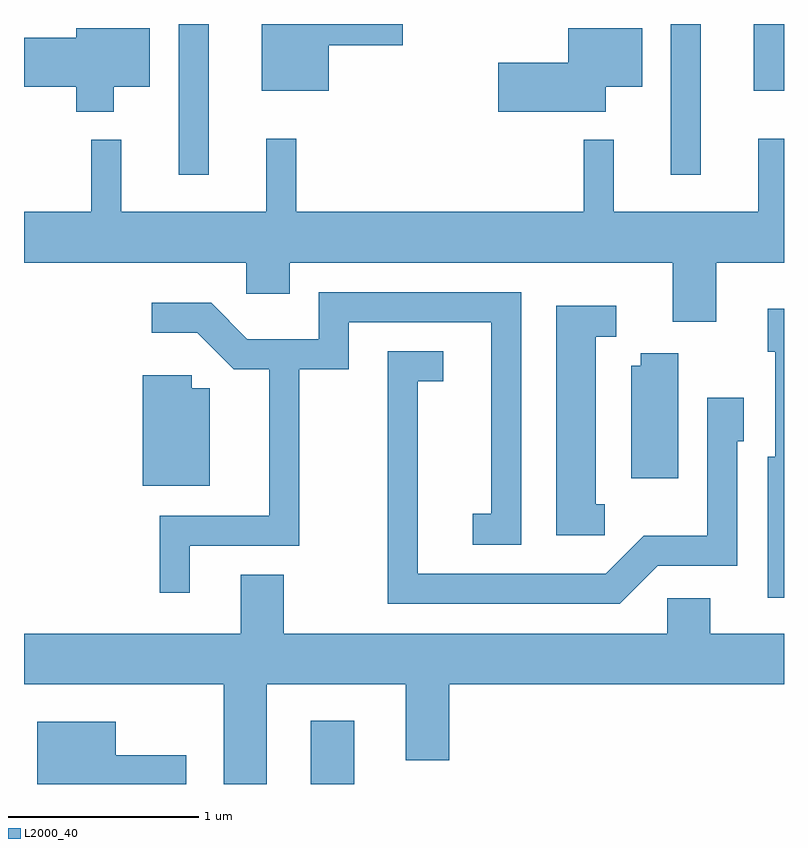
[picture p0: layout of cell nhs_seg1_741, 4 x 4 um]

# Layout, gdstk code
import gdstk
lib = gdstk.Library(unit=1e-6, precision=1e-09)
def R(c, l, rs):  # rectangles x0, y0, x1, y1
    for r in rs: c.add(gdstk.rectangle(r[:2], r[2:], *l))
def P(c, l, *ps):  # polygons
    for p in ps: c.add(gdstk.Polygon(p, *l))
L2000_40 = (2000, 40)

nhs_seg1_741 = lib.new_cell('nhs_seg1_741')
R(nhs_seg1_741, L2000_40, [(209.121,905.712,209.349,906.044), (208.426,908.918,208.584,909.712), (211.016,908.918,211.174,909.712), (211.451,909.361,211.611,909.712)])
P(nhs_seg1_741, L2000_40, [(209.214,909.601),(209.604,909.601),(209.604,909.712),(208.861,909.712),(208.861,909.361),(209.214,909.361)],
  [(210.674,909.381),(210.864,909.381),(210.864,909.689),(210.476,909.689),(210.476,909.509),(210.106,909.509),(210.106,909.251),(210.674,909.251)],
  [(208.084,909.381),(208.274,909.381),(208.274,909.689),(207.886,909.689),(207.886,909.639),(207.611,909.639),(207.611,909.381),(207.886,909.381),(207.886,909.251),(208.084,909.251)],
  [(211.254,908.456),(211.611,908.456),(211.611,909.108),(211.476,909.108),(211.476,908.724),(210.714,908.724),(210.714,909.103),(210.556,909.103),(210.556,908.724),(209.044,908.724),(209.044,909.108),(208.886,909.108),(208.886,908.724),(208.124,908.724),(208.124,909.103),(207.966,909.103),(207.966,908.724),(207.611,908.724),(207.611,908.456),(208.781,908.456),(208.781,908.291),(209.009,908.291),(209.009,908.456),(211.026,908.456),(211.026,908.146),(211.254,908.146)],
  [(208.484,906.966),(209.059,906.966),(209.059,907.896),(209.319,907.896),(209.319,908.141),(210.071,908.141),(210.071,907.134),(209.973,907.134),(209.973,906.971),(210.229,906.971),(210.229,908.299),(209.161,908.299),(209.161,908.054),(208.787,908.054),(208.597,908.244),(208.283,908.244),(208.283,908.086),(208.524,908.086),(208.714,907.896),(208.901,907.896),(208.901,907.124),(208.326,907.124),(208.326,906.718),(208.484,906.718)],
  [(210.668,907.184),(210.619,907.184),(210.619,908.066),(210.728,908.066),(210.728,908.229),(210.411,908.229),(210.411,907.021),(210.668,907.021)],
  [(211.611,908.214),(211.526,908.214),(211.526,907.986),(211.566,907.986),(211.566,907.434),(211.526,907.434),(211.526,906.691),(211.611,906.691)],
  [(210.947,906.861),(211.364,906.861),(211.364,907.516),(211.399,907.516),(211.399,907.744),(211.206,907.744),(211.206,907.019),(210.874,907.019),(210.674,906.819),(209.684,906.819),(209.684,907.831),(209.818,907.831),(209.818,907.989),(209.526,907.989),(209.526,906.661),(210.747,906.661)],
  [(211.054,907.979),(210.856,907.979),(210.856,907.914),(210.806,907.914),(210.806,907.321),(211.054,907.321)],
  [(208.589,907.794),(208.494,907.794),(208.494,907.864),(208.236,907.864),(208.236,907.281),(208.589,907.281)],
  [(208.889,906.236),(209.621,906.236),(209.621,905.836),(209.849,905.836),(209.849,906.236),(211.611,906.236),(211.611,906.504),(211.224,906.504),(211.224,906.689),(210.996,906.689),(210.996,906.504),(208.979,906.504),(208.979,906.814),(208.751,906.814),(208.751,906.504),(207.611,906.504),(207.611,906.236),(208.661,906.236),(208.661,905.712),(208.889,905.712)],
  [(208.464,905.864),(208.094,905.864),(208.094,906.039),(207.681,906.039),(207.681,905.712),(208.464,905.712)])

lib.write_gds('nhs_seg1_741.gds')
